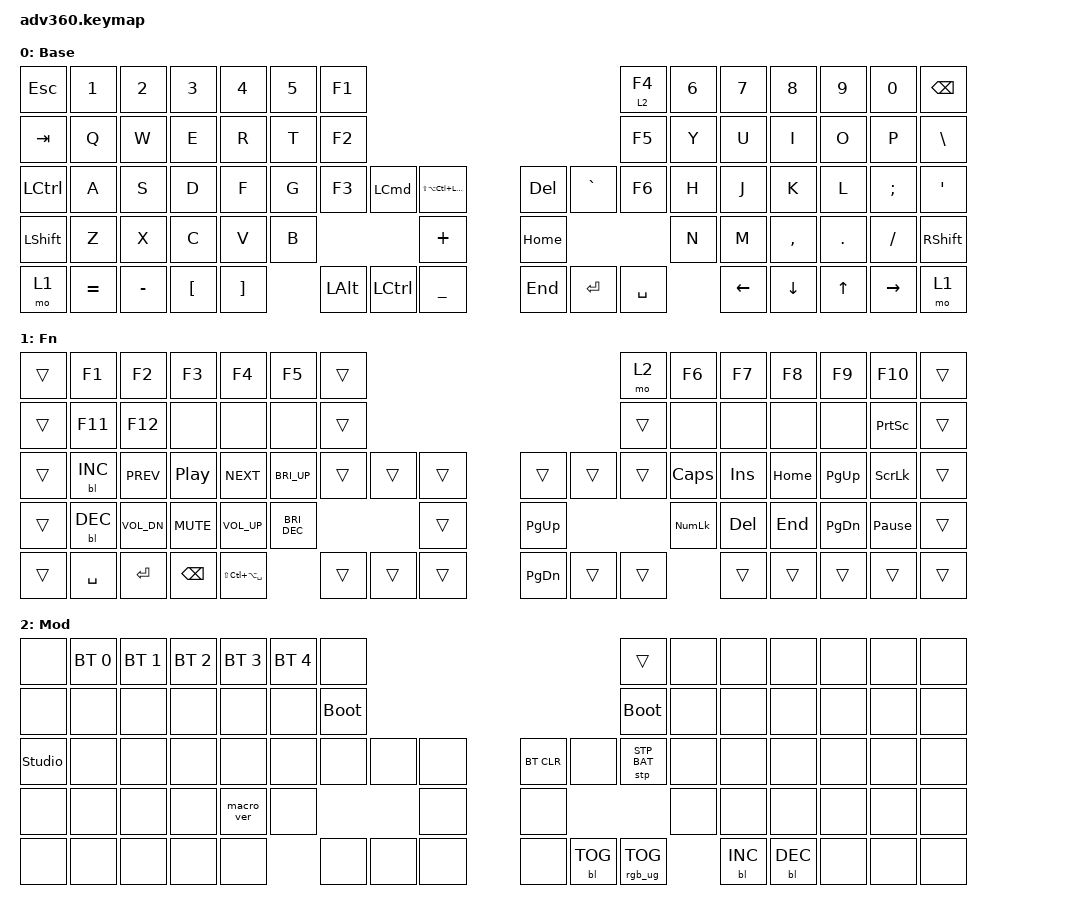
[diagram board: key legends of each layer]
#include <dt-bindings/zmk/stp.h>
#include <behaviors.dtsi>
#include <dt-bindings/zmk/backlight.h>
#include <dt-bindings/zmk/bt.h>
#include <dt-bindings/zmk/keys.h>
#include <dt-bindings/zmk/rgb.h>

/ {
    behaviors {
        #include "macros.dtsi"
      #include "version.dtsi"

        hm: homerow_mods {
            compatible = "zmk,behavior-hold-tap";
            label = "HOMEROW_MODS";
            #binding-cells = <2>;
            tapping-term-ms = <150>;
            flavor = "tap-preferred";
            bindings = <&kp>, <&kp>;
        };

        ht_lthumb1: ht_lthumb1 {
            compatible = "zmk,behavior-hold-tap";
            label = "HT_LTHUMB1";
            bindings = <&kp>, <&kp>;

            #binding-cells = <2>;
            flavor = "hold-preferred";
            tapping-term-ms = <175>;
            require-prior-idle-ms = <100>;
            hold-trigger-key-positions = <0 1 2 3 4 5 6 7 8 9 10 11 12 13 14 15 16 17 18 19 20 21 22 23 24 25 26 27 28 29 30 31 32 33 34 35 36 37 38 39 40 41 42 43 44 45 46 47 48 49 50 51 54 55 56 57 58 59 60 61 62 63 64 71 72 73 74 75 52 53 67 68 69 70 66>;
            retro-tap;
        };

        ht_lthumb2: ht_lthumb2 {
            compatible = "zmk,behavior-hold-tap";
            label = "HT_LTHUMB2";
            bindings = <&kp>, <&kp>;

            #binding-cells = <2>;
            flavor = "hold-preferred";
            tapping-term-ms = <175>;
            require-prior-idle-ms = <125>;
            hold-trigger-key-positions = <0 1 2 3 4 5 6 7 8 9 10 11 12 13 14 15 16 17 18 19 20 21 22 23 24 25 26 27 28 29 30 31 32 33 34 35 36 37 38 39 40 41 42 43 44 45 46 47 48 49 50 51 54 55 56 57 58 59 60 61 62 63 64 71 72 73 74 75 52 53 67 68 69 70 65>;
            retro-tap;
        };

        ht_rthumb1: ht_rthumb1 {
            compatible = "zmk,behavior-hold-tap";
            label = "HT_RTHUMB1";
            bindings = <&kp>, <&kp>;

            #binding-cells = <2>;
            flavor = "hold-preferred";
            tapping-term-ms = <175>;
            require-prior-idle-ms = <125>;
            hold-trigger-key-positions = <0 1 2 3 4 5 6 7 8 9 10 11 12 13 14 15 16 17 18 19 20 21 22 23 24 25 26 27 28 29 30 31 32 33 34 35 36 37 38 39 40 41 42 43 44 45 46 47 48 49 50 51 54 55 56 57 58 59 60 61 62 63 64 71 72 73 74 75 52 53 67 68 69 66 65>;
            retro-tap;
        };

        ht_rthumb2: ht_rthumb2 {
            compatible = "zmk,behavior-hold-tap";
            label = "HT_RTHUMB2";
            bindings = <&kp>, <&kp>;

            #binding-cells = <2>;
            flavor = "hold-preferred";
            tapping-term-ms = <175>;
            require-prior-idle-ms = <125>;
            hold-trigger-key-positions = <0 1 2 3 4 5 6 7 8 9 10 11 12 13 14 15 16 17 18 19 20 21 22 23 24 25 26 27 28 29 30 31 32 33 34 35 36 37 38 39 40 41 42 43 44 45 46 47 48 49 50 51 54 55 56 57 58 59 60 61 62 63 64 71 72 73 74 75 52 53 67 68 66 65 70>;
            retro-tap;
        };
    };

    macros {
        txt_rarrow: txt_rarrow {
            compatible = "zmk,behavior-macro";
            #binding-cells = <0>;
            bindings = <&kp MINUS &kp GT>;
            label = "TXT_RARROW";
            wait-ms = <1>;
            tap-ms = <1>;
        };

        txt_larrow: txt_larrow {
            compatible = "zmk,behavior-macro";
            #binding-cells = <0>;
            bindings = <&kp LT &kp MINUS>;
            label = "TXT_LARROW";
            wait-ms = <1>;
            tap-ms = <1>;
        };

        txt_farrow: txt_farrow {
            compatible = "zmk,behavior-macro";
            #binding-cells = <0>;
            bindings = <&kp EQUAL &kp GT>;
            label = "TXT_FARROW";
            wait-ms = <1>;
            tap-ms = <1>;
        };

        txt_colcol: txt_colcol {
            compatible = "zmk,behavior-macro";
            #binding-cells = <0>;
            bindings = <&kp COLON &kp COLON>;
            label = "TXT_COLCOL";
            wait-ms = <1>;
            tap-ms = <1>;
        };
    };

    combos {
        compatible = "zmk,combos";

        jk {
            bindings = <&kp BACKSPACE>;
            key-positions = <41 42>;
        };
    };

    keymap {
        compatible = "zmk,keymap";

        default_layer {
            display-name = "Base";
            bindings = <
&kp ESCAPE  &kp N1     &kp N2     &kp N3    &kp N4    &kp N5  &kp F1                                                              &lt 2 F4   &kp N6  &kp N7    &kp N8     &kp N9        &kp N0     &kp BACKSPACE
&kp TAB     &kp Q      &kp W      &kp E     &kp R     &kp T   &kp F2                                                              &kp F5     &kp Y   &kp U     &kp I      &kp O         &kp P      &kp BACKSLASH
&kp LCTRL   &kp A      &kp S      &kp D     &kp F     &kp G   &kp F3    &kp LCMD   &kp LS(LA(LC(LCMD)))      &kp DEL   &kp GRAVE  &kp F6     &kp H   &kp J     &kp K      &kp L         &kp SEMI   &kp SQT
&kp LSHFT   &kp Z      &kp X      &kp C     &kp V     &kp B                        &kp PLUS                  &kp HOME                        &kp N   &kp M     &kp COMMA  &kp DOT       &kp SLASH  &kp RSHFT
&mo 1       &kp EQUAL  &kp MINUS  &kp LBKT  &kp RBKT          &kp LALT  &kp LCTRL  &kp UNDER                 &kp END   &kp ENTER  &kp SPACE          &kp LEFT  &kp DOWN   &kp UP_ARROW  &kp RIGHT  &mo 1
            >;
        };

        fn {
            display-name = "Fn";
            bindings = <
&trans  &kp F1      &kp F2        &kp F3         &kp F4                 &kp F5         &trans                                         &mo 2   &kp F6      &kp F7   &kp F8    &kp F9         &kp F10          &trans
&trans  &kp F11     &kp F12       &none          &none                  &none          &trans                                         &trans  &none       &none    &none     &none          &kp PRINTSCREEN  &trans
&trans  &bl BL_INC  &kp C_PREV    &kp C_PP       &kp C_NEXT             &kp C_BRI_UP   &trans  &trans  &trans      &trans     &trans  &trans  &kp CAPS    &kp INS  &kp HOME  &kp PG_UP      &kp SCROLLLOCK   &trans
&trans  &bl BL_DEC  &kp C_VOL_DN  &kp C_MUTE     &kp C_VOL_UP           &kp C_BRI_DEC                  &trans      &kp PG_UP                  &kp KP_NUM  &kp DEL  &kp END   &kp PAGE_DOWN  &kp PAUSE_BREAK  &trans
&trans  &kp SPACE   &kp ENTER     &kp BACKSPACE  &kp LS(LC(LA(SPACE)))                 &trans  &trans  &trans      &kp PG_DN  &trans  &trans              &trans   &trans    &trans         &trans           &trans
            >;
        };

        mod {
            display-name = "Mod";
            bindings = <
&none           &bt BT_SEL 0  &bt BT_SEL 1  &bt BT_SEL 2  &bt BT_SEL 3  &bt BT_SEL 4  &none                                                  &trans           &none  &none       &none       &none  &none  &none
&none           &none         &none         &none         &none         &none         &bootloader                                            &bootloader      &none  &none       &none       &none  &none  &none
&studio_unlock  &none         &none         &none         &none         &none         &none        &none  &none      &bt BT_CLR  &none       &stp STP_BAT     &none  &none       &none       &none  &none  &none
&none           &none         &none         &none         &macro_ver    &none                             &none      &none                                    &none  &none       &none       &none  &none  &none
&none           &none         &none         &none         &none                       &none        &none  &none      &none       &bl BL_TOG  &rgb_ug RGB_TOG         &bl BL_INC  &bl BL_DEC  &none  &none  &none
            >;
        };
    };
};
